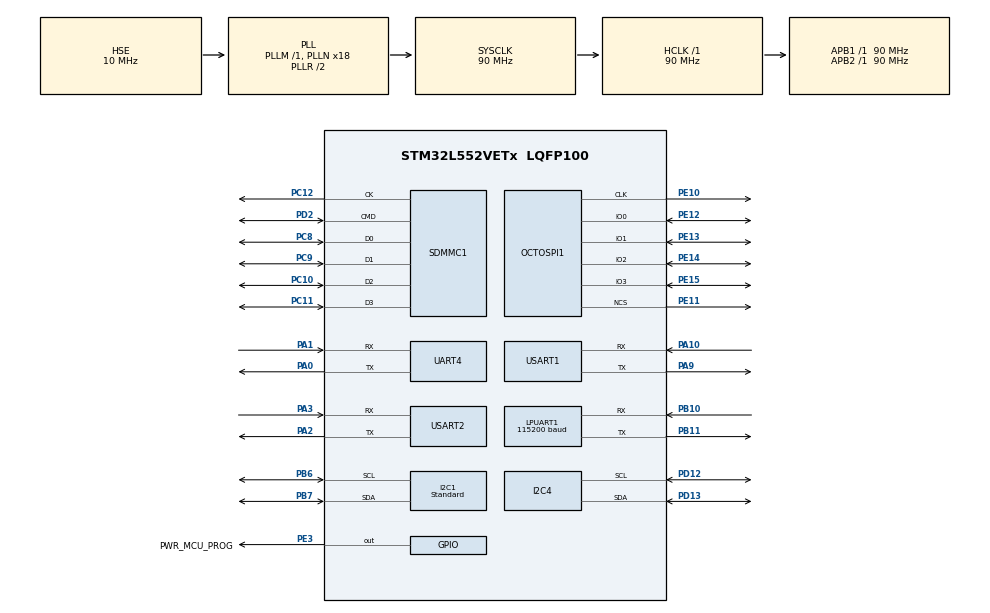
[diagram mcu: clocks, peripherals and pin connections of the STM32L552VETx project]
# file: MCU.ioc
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Dma.Request0=USART1_TX
Dma.USART1_TX.0.Channel_PRIV_NPRIV=DMA_CHANNEL_NPRIV_DISABLE
Dma.USART1_TX.0.Direction=DMA_MEMORY_TO_PERIPH
Dma.USART1_TX.0.EventEnable=DISABLE
Dma.USART1_TX.0.Instance=DMA1_Channel1
Dma.USART1_TX.0.MemDataAlignment=DMA_MDATAALIGN_BYTE
Dma.USART1_TX.0.MemInc=DMA_MINC_ENABLE
Dma.USART1_TX.0.Mode=DMA_NORMAL
Dma.USART1_TX.0.PeriphDataAlignment=DMA_PDATAALIGN_BYTE
Dma.USART1_TX.0.PeriphInc=DMA_PINC_DISABLE
Dma.USART1_TX.0.Polarity=HAL_DMAMUX_REQ_GEN_RISING
Dma.USART1_TX.0.Priority=DMA_PRIORITY_LOW
Dma.USART1_TX.0.RequestNumber=1
Dma.USART1_TX.0.SignalID=NONE
Dma.USART1_TX.0.SyncEnable=DISABLE
Dma.USART1_TX.0.SyncPolarity=HAL_DMAMUX_SYNC_NO_EVENT
Dma.USART1_TX.0.SyncRequestNumber=1
Dma.USART1_TX.0.SyncSignalID=NONE
FATFS._FS_EXFAT=1
FATFS._USE_LFN=3
I2C1.CustomTiming=Disabled
I2C1.I2C_Coeff_DF=0
I2C1.I2C_Fall_Time=0
I2C1.I2C_Rise_Time=500
I2C1.I2C_Speed_Mode=I2C_Standard
I2C1.Speed=100
I2C1.Timing=0x40D04660
I2C4.I2C_Rise_Time=100
I2C4.Timing=0x10F0B6FF
LPUART1.BaudRate=115200
Mcu.Family=STM32L5
Mcu.Name=STM32L552VETx
Mcu.Package=LQFP100
NVIC.DMA1_Channel1_IRQn=true\:0\:0\:false\:false\:true\:false\:true\:true
NVIC.I2C1_ER_IRQn=true\:0\:0\:false\:false\:true\:true\:true\:true
NVIC.I2C1_EV_IRQn=true\:0\:0\:false\:false\:true\:true\:true\:true
NVIC.LPUART1_IRQn=true\:0\:0\:false\:false\:true\:true\:true\:true
NVIC.OCTOSPI1_IRQn=true\:0\:0\:false\:false\:true\:true\:true\:true
NVIC.PriorityGroup=NVIC_PRIORITYGROUP_3
NVIC.SDMMC1_IRQn=true\:0\:0\:false\:false\:true\:true\:true\:true
NVIC.UART4_IRQn=true\:0\:0\:false\:false\:true\:true\:true\:true
NVIC.USART1_IRQn=true\:0\:0\:false\:false\:true\:true\:true\:true
NVIC.USART2_IRQn=true\:0\:0\:false\:false\:true\:true\:true\:true
OCTOSPI1.ClockMode=HAL_OSPI_CLOCK_MODE_3
OCTOSPI1.MemoryType=HAL_OSPI_MEMTYPE_APMEMORY
PA0.Mode=Asynchronous
PA0.Signal=UART4_TX
PA1.Mode=Asynchronous
PA1.Signal=UART4_RX
PA10.Mode=Asynchronous
PA10.Signal=USART1_RX
PA2.Mode=Asynchronous
PA2.Signal=USART2_TX
PA3.Mode=Asynchronous
PA3.Signal=USART2_RX
PA9.Mode=Asynchronous
PA9.Signal=USART1_TX
PB10.Mode=Asynchronous
PB10.Signal=LPUART1_RX
PB11.Mode=Asynchronous
PB11.Signal=LPUART1_TX
PB6.Mode=I2C
PB6.Signal=I2C1_SCL
PB7.Mode=I2C
PB7.Signal=I2C1_SDA
PC10.Mode=SD_4_bits_Wide_bus
PC10.Signal=SDMMC1_D2
PC11.Mode=SD_4_bits_Wide_bus
PC11.Signal=SDMMC1_D3
PC12.Mode=SD_4_bits_Wide_bus
PC12.Signal=SDMMC1_CK
PC14-OSC32_IN\ (PC14).Mode=LSE-External-Oscillator
PC14-OSC32_IN\ (PC14).Signal=RCC_OSC32_IN
PC15-OSC32_OUT\ (PC15).Mode=LSE-External-Oscillator
PC15-OSC32_OUT\ (PC15).Signal=RCC_OSC32_OUT
PC8.Mode=SD_4_bits_Wide_bus
PC8.Signal=SDMMC1_D0
PC9.Mode=SD_4_bits_Wide_bus
PC9.Signal=SDMMC1_D1
PD12.Mode=I2C
PD12.Signal=I2C4_SCL
PD13.Mode=I2C
PD13.Signal=I2C4_SDA
PD2.Mode=SD_4_bits_Wide_bus
PD2.Signal=SDMMC1_CMD
PE10.Mode=quad_mode
PE10.Signal=OCTOSPI1_CLK
PE11.Mode=quad_mode
PE11.Signal=OCTOSPI1_NCS
PE12.Mode=quad_mode
PE12.Signal=OCTOSPI1_IO0
PE13.Mode=quad_mode
PE13.Signal=OCTOSPI1_IO1
PE14.Mode=quad_mode
PE14.Signal=OCTOSPI1_IO2
PE15.Mode=quad_mode
PE15.Signal=OCTOSPI1_IO3
PE3.GPIO_Label=PWR_MCU_PROG
PE3.Signal=GPIO_Output
PH0-OSC_IN\ (PH0).Mode=HSE-External-Oscillator
PH0-OSC_IN\ (PH0).Signal=RCC_OSC_IN
PH1-OSC_OUT\ (PH1).Mode=HSE-External-Oscillator
PH1-OSC_OUT\ (PH1).Signal=RCC_OSC_OUT
ProjectManager.HeapSize=0x200
ProjectManager.StackSize=0x800
ProjectManager.TargetToolchain=STM32CubeIDE
RCC.ADCFreq_Value=50000000
RCC.AHBFreq_Value=90000000
RCC.APB1Freq_Value=90000000
RCC.APB1TimFreq_Value=90000000
RCC.APB2Freq_Value=90000000
RCC.APB2TimFreq_Value=90000000
RCC.CortexFreq_Value=90000000
RCC.HCLKFreq_Value=90000000
RCC.HSE_VALUE=10000000
RCC.HSI48_VALUE=48000000
RCC.HSI_VALUE=16000000
RCC.MSI_VALUE=4000000
RCC.PLLN=18
RCC.PLLSAI1M=2
RCC.PLLSAI1N=20
RCC.PLLSAI1Q=RCC_PLLQ_DIV4
RCC.PLLSAI1Source=RCC_PLLSAI1SOURCE_HSE
RCC.PLLSourceVirtual=RCC_PLLSOURCE_HSE
RCC.RTCClockSelection=RCC_RTCCLKSOURCE_LSE
RCC.SDMMCClockSelection=RCC_SDIOCLKSOURCE_CLK48
RCC.SYSCLKFreq_VALUE=90000000
RCC.SYSCLKSource=RCC_SYSCLKSOURCE_PLLCLK
RCC.USBFreq_Value=25000000
RCC.VCOOutputFreq_Value=180000000
SDMMC1.ClockDiv=0
SDMMC1.ClockEdge=SDMMC_CLOCK_EDGE_RISING
SDMMC1.ClockPowerSave=SDMMC_CLOCK_POWER_SAVE_DISABLE
SDMMC1.HardwareFlowControl=SDMMC_HARDWARE_FLOW_CONTROL_DISABLE
USART1.VirtualMode-Asynchronous=VM_ASYNC
USART2.VirtualMode-Asynchronous=VM_ASYNC
VP_FATFS_VS_SDIO.Mode=SDIO
VP_ICACHE_VS_ICACHE.Mode=DefaultMode
VP_PWR_VS_DBSignals.Mode=DisableDeadBatterySignals
VP_PWR_VS_SECSignals.Mode=Security/Privilege
VP_RTC_VS_RTC_Activate.Mode=RTC_Enabled
board=custom

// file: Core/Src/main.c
/* USER CODE BEGIN Header */
/**
  ******************************************************************************
  * @file           : main.c
  * @brief          : Main program body
  ******************************************************************************
  * @attention
  *
  * Copyright (c) 2023 STMicroelectronics.
  * All rights reserved.
  *
  * This software is licensed under terms that can be found in the LICENSE file
  * in the root directory of this software component.
  * If no LICENSE file comes with this software, it is provided AS-IS.
  *
  ******************************************************************************
  */
/* USER CODE END Header */
#include "main.h"
#include "app_fatfs.h"

/* USER CODE BEGIN Includes */
#include "stdio.h"
#include "string.h"
#include "dbg.h"

/* USER CODE END Includes */

I2C_HandleTypeDef hi2c1;
I2C_HandleTypeDef hi2c4;

UART_HandleTypeDef hlpuart1;
UART_HandleTypeDef huart4;
UART_HandleTypeDef huart1;
UART_HandleTypeDef huart2;
DMA_HandleTypeDef hdma_usart1_tx;

OSPI_HandleTypeDef hospi1;

RTC_HandleTypeDef hrtc;

SD_HandleTypeDef hsd1;

void SystemClock_Config(void);
static void MX_GPIO_Init(void);
static void MX_DMA_Init(void);
static void MX_ICACHE_Init(void);
static void MX_OCTOSPI1_Init(void);
static void MX_USART1_UART_Init(void);
static void MX_RTC_Init(void);
static void MX_SDMMC1_SD_Init(void);
static void MX_I2C1_Init(void);
static void MX_LPUART1_UART_Init(void);
static void MX_UART4_Init(void);
static void MX_USART2_UART_Init(void);
static void MX_I2C4_Init(void);

int main(void)
{

  /* MCU Configuration--------------------------------------------------------*/

  /* Reset of all peripherals, Initializes the Flash interface and the Systick. */
  HAL_Init();

  /* Configure the system clock */
  SystemClock_Config();

  /* Initialize all configured peripherals */
  MX_GPIO_Init();
  MX_DMA_Init();
  MX_ICACHE_Init();
  MX_OCTOSPI1_Init();
  MX_USART1_UART_Init();
  MX_RTC_Init();
  MX_SDMMC1_SD_Init();
  if (MX_FATFS_Init() != APP_OK) {
    Error_Handler();
  }
  MX_I2C1_Init();
  MX_LPUART1_UART_Init();
  MX_UART4_Init();
  MX_USART2_UART_Init();
  MX_I2C4_Init();
  /* USER CODE BEGIN 2 */
  HAL_Delay(200);
  HAL_UART_Transmit(&huart1, "Start\n", 6, 100);
  char tt[100];
  RTC_TimeTypeDef sTimeStamp;
  RTC_DateTypeDef sTimeStampDate;
  uint8_t depth_cmd=0xac;
  uint8_t OUTX_L_XL=0x28;
  uint8_t OUTX_H_XL=0x29;
  uint8_t CTRL1_XL[]={0x10,0x10};
  uint8_t who_am_i=0x0f;
  uint8_t id;
  uint8_t data[6];
  uint8_t rx_byte;
  uint8_t rx_byte2;
  //HAL_GPIO_WritePin(PWR_MCU_PROG_GPIO_Port, PWR_MCU_PROG_Pin, GPIO_PIN_SET);
  //HAL_Delay(1000);
  //HAL_GPIO_WritePin(PWR_MCU_PROG_GPIO_Port, PWR_MCU_PROG_Pin, GPIO_PIN_RESET);

  //IMU SENSOR WORKS!!
  //while(1){
  //HAL_I2C_Master_Transmit(&hi2c1, 0xd4, &who_am_i, 1, 100);
  //HAL_I2C_Master_Receive(&hi2c1, 0xd4, &id, 1, 100);

  //sprintf(tt,"who_am_i:%u \n",id);
  //HAL_UART_Transmit(&huart1, tt, strlen(tt),100);

  //HAL_I2C_Master_Transmit(&hi2c1, 0xd4, CTRL1_XL, 2, 100);

  //HAL_I2C_Master_Transmit(&hi2c1, 0xd4, &OUTX_L_XL, 1, 100);
  //HAL_I2C_Master_Receive(&hi2c1, 0xd4, data, 1, 100);

  //HAL_I2C_Master_Transmit(&hi2c1, 0xd4, &OUTX_H_XL, 1, 100);
  //HAL_I2C_Master_Receive(&hi2c1, 0xd4, data+1, 1, 100);

  //int16_t OUTX_XL=(data[1]<<8)|data[0];
  //sprintf(tt,"OUTX_XL:%d \n",OUTX_XL);
  //HAL_UART_Transmit(&huart1, tt, strlen(tt),100);
  //HAL_Delay(1000);
  //}

  //DEPTH SENSOR WORKS!!
  //uint16_t P;
  //uint16_t T;
  //while(1){
//	  HAL_StatusTypeDef f_res=HAL_I2C_Master_Transmit(&hi2c4, 0x80, &depth_cmd, 1, 100);
//	  sprintf(tt,"fres:%u\n",f_res);
//	  HAL_UART_Transmit(&huart1, tt, strlen(tt),100);
//	  HAL_Delay(20);
//	  f_res=HAL_I2C_Master_Receive(&hi2c4, 0x80, data, 5, 100);
//	  P=(data[1]<<8)|data[2];
//	  T=(data[3]<<8)|data[4];
//	  sprintf(tt,"P:%u T:%u\n",P,T);
//	  HAL_UART_Transmit(&huart1, tt, strlen(tt),100);
//	  HAL_Delay(1000);
//  }

 // while(1){
//	  HAL_UART_Transmit(&huart1, "UART1\n", 6,100);
//	  if(HAL_UART_Receive(&huart1,&rx_byte,1,1000)==HAL_OK){
//		  HAL_UART_Transmit(&huart1,&rx_byte,1,100);
//	  }

//	  HAL_UART_Transmit(&huart2, "UART2\n", 6,100);
//	  if(HAL_UART_Receive(&huart2,&rx_byte,1,1000)==HAL_OK){
//		  HAL_UART_Transmit(&huart2,&rx_byte,1,100);
//	  }
	  //HAL_UART_Transmit(&huart3, "UART3\n", 6,100);
	  //if(HAL_UART_Receive(&huart3,&rx_byte,1,1000)==HAL_OK){
	  //  HAL_UART_Transmit(&huart3,&rx_byte,1,100);
	  //}

//	  HAL_UART_Transmit(&huart4, "UART4\n", 6,100);
//	  if(HAL_UART_Receive(&huart4,&rx_byte,1,1000)==HAL_OK){
//		  HAL_UART_Transmit(&huart4,&rx_byte,1,100);
//	  }

//	  HAL_UART_Transmit(&hlpuart1,"LUART1\n", 7,100);
//	  if(HAL_UART_Receive(&hlpuart1,&rx_byte,1,1000)==HAL_OK){
//		  HAL_UART_Transmit(&hlpuart1,&rx_byte,1,100);
//	  }
//	  HAL_Delay(1000);

//  }

  /*
  sTimeStamp.Hours=14;
  sTimeStamp.Minutes=00;
  sTimeStamp.Seconds=00;
  HAL_RTC_SetTime(&hrtc, &sTimeStamp, RTC_FORMAT_BIN);

  sTimeStampDate.WeekDay = RTC_WEEKDAY_MONDAY;
  sTimeStampDate.Month = RTC_MONTH_JUNE;
  sTimeStampDate.Date = 14;
  sTimeStampDate.Year = 23;
  HAL_RTC_SetDate(&hrtc, &sTimeStampDate, RTC_FORMAT_BIN);
  */

  HAL_RTC_GetTime(&hrtc, &sTimeStamp, RTC_FORMAT_BIN);
  HAL_RTC_GetDate(&hrtc, &sTimeStampDate, RTC_FORMAT_BIN);
  sprintf(tt,"RTC %02u:%02u:%02u %02u:%02u:%02u\n",sTimeStampDate.Date,sTimeStampDate.Month,sTimeStampDate.Year,sTimeStamp.Hours,sTimeStamp.Minutes,sTimeStamp.Seconds);
  HAL_UART_Transmit(&huart1, tt, strlen(tt),100);

  extern uint8_t test_msg[10200];

  FATFS fs;
  FIL fl;
  FRESULT res;
  res=f_mount(&fs,"",1);
  print_param("mount", res);
  uint32_t btwritten;
  uint32_t tmstmp;

  if(res==FR_OK){
	  HAL_UART_Transmit(&huart1, "SM\n", 3,100);
   if(f_open(&fl,"testfile",FA_CREATE_ALWAYS|FA_WRITE)==FR_OK){
	   tmstmp=HAL_GetTick();

	   for(int i=0;i<1;i++){
		   res=f_write(&fl,test_msg,10000,&btwritten);
		   if(res!=FR_OK){
			 print_param("c",i);
			 print_param("r",res);
		   }
	   }

	   tmstmp=HAL_GetTick()-tmstmp;

	   print_param("Dlt",tmstmp);

	  f_close(&fl);
	  HAL_UART_Transmit(&huart1, "FC\n", 3,100);
   }
  }

  /* USER CODE END 2 */

  /* Infinite loop */
  /* USER CODE BEGIN WHILE */
  while (1)
  {
	/*
	HAL_UART_Transmit_DMA(&huart1, "Hello\n", 6);

	HAL_Delay(1000);
	//HAL_RTCEx_GetTimeStamp(&hrtc, &sTimeStamp, &sTimeStampDate, RTC_FORMAT_BIN);
	HAL_RTC_GetTime(&hrtc, &sTimeStamp, RTC_FORMAT_BIN);
	HAL_RTC_GetDate(&hrtc, &sTimeStampDate, RTC_FORMAT_BIN);
	sprintf(tt,"%u:%u:%u\n",sTimeStamp.Hours,sTimeStamp.Minutes,sTimeStamp.Seconds);
	HAL_UART_Transmit_DMA(&huart1, tt, strlen(tt));
	HAL_Delay(1000);
	*/

    /* USER CODE END WHILE */

  }
}

void SystemClock_Config(void)
{
  RCC_OscInitTypeDef RCC_OscInitStruct = {0};
  RCC_ClkInitTypeDef RCC_ClkInitStruct = {0};

  /** Configure the main internal regulator output voltage
  */
  if (HAL_PWREx_ControlVoltageScaling(PWR_REGULATOR_VOLTAGE_SCALE0) != HAL_OK)
  {
    Error_Handler();
  }

  /** Configure LSE Drive Capability
  */
  HAL_PWR_EnableBkUpAccess();
  __HAL_RCC_LSEDRIVE_CONFIG(RCC_LSEDRIVE_LOW);

  /** Initializes the RCC Oscillators according to the specified parameters
  * in the RCC_OscInitTypeDef structure.
  */
  RCC_OscInitStruct.OscillatorType = RCC_OSCILLATORTYPE_HSE|RCC_OSCILLATORTYPE_LSE;
  RCC_OscInitStruct.HSEState = RCC_HSE_ON;
  RCC_OscInitStruct.LSEState = RCC_LSE_ON;
  RCC_OscInitStruct.PLL.PLLState = RCC_PLL_ON;
  RCC_OscInitStruct.PLL.PLLSource = RCC_PLLSOURCE_HSE;
  RCC_OscInitStruct.PLL.PLLM = 1;
  RCC_OscInitStruct.PLL.PLLN = 18;
  RCC_OscInitStruct.PLL.PLLP = RCC_PLLP_DIV7;
  RCC_OscInitStruct.PLL.PLLQ = RCC_PLLQ_DIV2;
  RCC_OscInitStruct.PLL.PLLR = RCC_PLLR_DIV2;
  if (HAL_RCC_OscConfig(&RCC_OscInitStruct) != HAL_OK)
  {
    Error_Handler();
  }

  /** Initializes the CPU, AHB and APB buses clocks
  */
  RCC_ClkInitStruct.ClockType = RCC_CLOCKTYPE_HCLK|RCC_CLOCKTYPE_SYSCLK
                              |RCC_CLOCKTYPE_PCLK1|RCC_CLOCKTYPE_PCLK2;
  RCC_ClkInitStruct.SYSCLKSource = RCC_SYSCLKSOURCE_PLLCLK;
  RCC_ClkInitStruct.AHBCLKDivider = RCC_SYSCLK_DIV1;
  RCC_ClkInitStruct.APB1CLKDivider = RCC_HCLK_DIV1;
  RCC_ClkInitStruct.APB2CLKDivider = RCC_HCLK_DIV1;

  if (HAL_RCC_ClockConfig(&RCC_ClkInitStruct, FLASH_LATENCY_4) != HAL_OK)
  {
    Error_Handler();
  }
}

static void MX_I2C1_Init(void)
{

  hi2c1.Instance = I2C1;
  hi2c1.Init.Timing = 0x40D04660;
  hi2c1.Init.OwnAddress1 = 0;
  hi2c1.Init.AddressingMode = I2C_ADDRESSINGMODE_7BIT;
  hi2c1.Init.DualAddressMode = I2C_DUALADDRESS_DISABLE;
  hi2c1.Init.OwnAddress2 = 0;
  hi2c1.Init.OwnAddress2Masks = I2C_OA2_NOMASK;
  hi2c1.Init.GeneralCallMode = I2C_GENERALCALL_DISABLE;
  hi2c1.Init.NoStretchMode = I2C_NOSTRETCH_DISABLE;
  if (HAL_I2C_Init(&hi2c1) != HAL_OK)
  {
    Error_Handler();
  }

  /** Configure Analogue filter
  */
  if (HAL_I2CEx_ConfigAnalogFilter(&hi2c1, I2C_ANALOGFILTER_ENABLE) != HAL_OK)
  {
    Error_Handler();
  }

  /** Configure Digital filter
  */
  if (HAL_I2CEx_ConfigDigitalFilter(&hi2c1, 0) != HAL_OK)
  {
    Error_Handler();
  }

}

static void MX_I2C4_Init(void)
{

  hi2c4.Instance = I2C4;
  hi2c4.Init.Timing = 0x10F0B6FF;
  hi2c4.Init.OwnAddress1 = 0;
  hi2c4.Init.AddressingMode = I2C_ADDRESSINGMODE_7BIT;
  hi2c4.Init.DualAddressMode = I2C_DUALADDRESS_DISABLE;
  hi2c4.Init.OwnAddress2 = 0;
  hi2c4.Init.OwnAddress2Masks = I2C_OA2_NOMASK;
  hi2c4.Init.GeneralCallMode = I2C_GENERALCALL_DISABLE;
  hi2c4.Init.NoStretchMode = I2C_NOSTRETCH_DISABLE;
  if (HAL_I2C_Init(&hi2c4) != HAL_OK)
  {
    Error_Handler();
  }

  /** Configure Analogue filter
  */
  if (HAL_I2CEx_ConfigAnalogFilter(&hi2c4, I2C_ANALOGFILTER_ENABLE) != HAL_OK)
  {
    Error_Handler();
  }

  /** Configure Digital filter
  */
  if (HAL_I2CEx_ConfigDigitalFilter(&hi2c4, 0) != HAL_OK)
  {
    Error_Handler();
  }

}

static void MX_ICACHE_Init(void)
{

  /** Enable instruction cache (default 2-ways set associative cache)
  */
  if (HAL_ICACHE_Enable() != HAL_OK)
  {
    Error_Handler();
  }

}

static void MX_LPUART1_UART_Init(void)
{

  hlpuart1.Instance = LPUART1;
  hlpuart1.Init.BaudRate = 115200;
  hlpuart1.Init.WordLength = UART_WORDLENGTH_8B;
  hlpuart1.Init.StopBits = UART_STOPBITS_1;
  hlpuart1.Init.Parity = UART_PARITY_NONE;
  hlpuart1.Init.Mode = UART_MODE_TX_RX;
  hlpuart1.Init.HwFlowCtl = UART_HWCONTROL_NONE;
  hlpuart1.Init.OneBitSampling = UART_ONE_BIT_SAMPLE_DISABLE;
  hlpuart1.Init.ClockPrescaler = UART_PRESCALER_DIV1;
  hlpuart1.AdvancedInit.AdvFeatureInit = UART_ADVFEATURE_NO_INIT;
  hlpuart1.FifoMode = UART_FIFOMODE_DISABLE;
  if (HAL_UART_Init(&hlpuart1) != HAL_OK)
  {
    Error_Handler();
  }
  if (HAL_UARTEx_SetTxFifoThreshold(&hlpuart1, UART_TXFIFO_THRESHOLD_1_8) != HAL_OK)
  {
    Error_Handler();
  }
  if (HAL_UARTEx_SetRxFifoThreshold(&hlpuart1, UART_RXFIFO_THRESHOLD_1_8) != HAL_OK)
  {
    Error_Handler();
  }
  if (HAL_UARTEx_DisableFifoMode(&hlpuart1) != HAL_OK)
  {
    Error_Handler();
  }

}

static void MX_UART4_Init(void)
{

  huart4.Instance = UART4;
  huart4.Init.BaudRate = 115200;
  huart4.Init.WordLength = UART_WORDLENGTH_8B;
  huart4.Init.StopBits = UART_STOPBITS_1;
  huart4.Init.Parity = UART_PARITY_NONE;
  huart4.Init.Mode = UART_MODE_TX_RX;
  huart4.Init.HwFlowCtl = UART_HWCONTROL_NONE;
  huart4.Init.OverSampling = UART_OVERSAMPLING_16;
  huart4.Init.OneBitSampling = UART_ONE_BIT_SAMPLE_DISABLE;
  huart4.Init.ClockPrescaler = UART_PRESCALER_DIV1;
  huart4.AdvancedInit.AdvFeatureInit = UART_ADVFEATURE_NO_INIT;
  if (HAL_UART_Init(&huart4) != HAL_OK)
  {
    Error_Handler();
  }
  if (HAL_UARTEx_SetTxFifoThreshold(&huart4, UART_TXFIFO_THRESHOLD_1_8) != HAL_OK)
  {
    Error_Handler();
  }
  if (HAL_UARTEx_SetRxFifoThreshold(&huart4, UART_RXFIFO_THRESHOLD_1_8) != HAL_OK)
  {
    Error_Handler();
  }
  if (HAL_UARTEx_DisableFifoMode(&huart4) != HAL_OK)
  {
    Error_Handler();
  }

}

static void MX_USART1_UART_Init(void)
{

  huart1.Instance = USART1;
  huart1.Init.BaudRate = 115200;
  huart1.Init.WordLength = UART_WORDLENGTH_8B;
  huart1.Init.StopBits = UART_STOPBITS_1;
  huart1.Init.Parity = UART_PARITY_NONE;
  huart1.Init.Mode = UART_MODE_TX_RX;
  huart1.Init.HwFlowCtl = UART_HWCONTROL_NONE;
  huart1.Init.OverSampling = UART_OVERSAMPLING_16;
  huart1.Init.OneBitSampling = UART_ONE_BIT_SAMPLE_DISABLE;
  huart1.Init.ClockPrescaler = UART_PRESCALER_DIV1;
  huart1.AdvancedInit.AdvFeatureInit = UART_ADVFEATURE_NO_INIT;
  if (HAL_UART_Init(&huart1) != HAL_OK)
  {
    Error_Handler();
  }
  if (HAL_UARTEx_SetTxFifoThreshold(&huart1, UART_TXFIFO_THRESHOLD_1_8) != HAL_OK)
  {
    Error_Handler();
  }
  if (HAL_UARTEx_SetRxFifoThreshold(&huart1, UART_RXFIFO_THRESHOLD_1_8) != HAL_OK)
  {
    Error_Handler();
  }
  if (HAL_UARTEx_DisableFifoMode(&huart1) != HAL_OK)
  {
    Error_Handler();
  }

}

static void MX_USART2_UART_Init(void)
{

  huart2.Instance = USART2;
  huart2.Init.BaudRate = 115200;
  huart2.Init.WordLength = UART_WORDLENGTH_8B;
  huart2.Init.StopBits = UART_STOPBITS_1;
  huart2.Init.Parity = UART_PARITY_NONE;
  huart2.Init.Mode = UART_MODE_TX_RX;
  huart2.Init.HwFlowCtl = UART_HWCONTROL_NONE;
  huart2.Init.OverSampling = UART_OVERSAMPLING_16;
  huart2.Init.OneBitSampling = UART_ONE_BIT_SAMPLE_DISABLE;
  huart2.Init.ClockPrescaler = UART_PRESCALER_DIV1;
  huart2.AdvancedInit.AdvFeatureInit = UART_ADVFEATURE_NO_INIT;
  if (HAL_UART_Init(&huart2) != HAL_OK)
  {
    Error_Handler();
  }
  if (HAL_UARTEx_SetTxFifoThreshold(&huart2, UART_TXFIFO_THRESHOLD_1_8) != HAL_OK)
  {
    Error_Handler();
  }
  if (HAL_UARTEx_SetRxFifoThreshold(&huart2, UART_RXFIFO_THRESHOLD_1_8) != HAL_OK)
  {
    Error_Handler();
  }
  if (HAL_UARTEx_DisableFifoMode(&huart2) != HAL_OK)
  {
    Error_Handler();
  }

}

static void MX_OCTOSPI1_Init(void)
{

  /* OCTOSPI1 parameter configuration*/
  hospi1.Instance = OCTOSPI1;
  hospi1.Init.FifoThreshold = 1;
  hospi1.Init.DualQuad = HAL_OSPI_DUALQUAD_DISABLE;
  hospi1.Init.MemoryType = HAL_OSPI_MEMTYPE_APMEMORY;
  hospi1.Init.DeviceSize = 32;
  hospi1.Init.ChipSelectHighTime = 1;
  hospi1.Init.FreeRunningClock = HAL_OSPI_FREERUNCLK_DISABLE;
  hospi1.Init.ClockMode = HAL_OSPI_CLOCK_MODE_3;
  hospi1.Init.WrapSize = HAL_OSPI_WRAP_NOT_SUPPORTED;
  hospi1.Init.ClockPrescaler = 1;
  hospi1.Init.SampleShifting = HAL_OSPI_SAMPLE_SHIFTING_NONE;
  hospi1.Init.DelayHoldQuarterCycle = HAL_OSPI_DHQC_DISABLE;
  hospi1.Init.ChipSelectBoundary = 0;
  hospi1.Init.DelayBlockBypass = HAL_OSPI_DELAY_BLOCK_BYPASSED;
  hospi1.Init.Refresh = 0;
  if (HAL_OSPI_Init(&hospi1) != HAL_OK)
  {
    Error_Handler();
  }

}

static void MX_RTC_Init(void)
{

  RTC_PrivilegeStateTypeDef privilegeState = {0};

  /** Initialize RTC Only
  */
  hrtc.Instance = RTC;
  hrtc.Init.HourFormat = RTC_HOURFORMAT_24;
  hrtc.Init.AsynchPrediv = 127;
  hrtc.Init.SynchPrediv = 255;
  hrtc.Init.OutPut = RTC_OUTPUT_DISABLE;
  hrtc.Init.OutPutRemap = RTC_OUTPUT_REMAP_NONE;
  hrtc.Init.OutPutPolarity = RTC_OUTPUT_POLARITY_HIGH;
  hrtc.Init.OutPutType = RTC_OUTPUT_TYPE_OPENDRAIN;
  hrtc.Init.OutPutPullUp = RTC_OUTPUT_PULLUP_NONE;
  if (HAL_RTC_Init(&hrtc) != HAL_OK)
  {
    Error_Handler();
  }
  privilegeState.rtcPrivilegeFull = RTC_PRIVILEGE_FULL_NO;
  privilegeState.backupRegisterPrivZone = RTC_PRIVILEGE_BKUP_ZONE_NONE;
  privilegeState.backupRegisterStartZone2 = RTC_BKP_DR0;
  privilegeState.backupRegisterStartZone3 = RTC_BKP_DR0;
  if (HAL_RTCEx_PrivilegeModeSet(&hrtc, &privilegeState) != HAL_OK)
  {
    Error_Handler();
  }

}

static void MX_SDMMC1_SD_Init(void)
{

  hsd1.Instance = SDMMC1;
  hsd1.Init.ClockEdge = SDMMC_CLOCK_EDGE_RISING;
  hsd1.Init.ClockPowerSave = SDMMC_CLOCK_POWER_SAVE_DISABLE;
  hsd1.Init.BusWide = SDMMC_BUS_WIDE_4B;
  hsd1.Init.HardwareFlowControl = SDMMC_HARDWARE_FLOW_CONTROL_DISABLE;
  hsd1.Init.ClockDiv = 0;

}

static void MX_DMA_Init(void)
{

  /* DMA controller clock enable */
  __HAL_RCC_DMAMUX1_CLK_ENABLE();
  __HAL_RCC_DMA1_CLK_ENABLE();

  /* DMA interrupt init */
  /* DMA1_Channel1_IRQn interrupt configuration */
  HAL_NVIC_SetPriority(DMA1_Channel1_IRQn, 0, 0);
  HAL_NVIC_EnableIRQ(DMA1_Channel1_IRQn);

}

static void MX_GPIO_Init(void)
{
  GPIO_InitTypeDef GPIO_InitStruct = {0};

  /* GPIO Ports Clock Enable */
  __HAL_RCC_GPIOE_CLK_ENABLE();
  __HAL_RCC_GPIOC_CLK_ENABLE();
  __HAL_RCC_GPIOH_CLK_ENABLE();
  __HAL_RCC_GPIOA_CLK_ENABLE();
  __HAL_RCC_GPIOB_CLK_ENABLE();
  __HAL_RCC_GPIOD_CLK_ENABLE();

  /*Configure GPIO pin Output Level */
  HAL_GPIO_WritePin(PWR_MCU_PROG_GPIO_Port, PWR_MCU_PROG_Pin, GPIO_PIN_RESET);

  /*Configure GPIO pin : PWR_MCU_PROG_Pin */
  GPIO_InitStruct.Pin = PWR_MCU_PROG_Pin;
  GPIO_InitStruct.Mode = GPIO_MODE_OUTPUT_PP;
  GPIO_InitStruct.Pull = GPIO_NOPULL;
  GPIO_InitStruct.Speed = GPIO_SPEED_FREQ_LOW;
  HAL_GPIO_Init(PWR_MCU_PROG_GPIO_Port, &GPIO_InitStruct);

}

/* USER CODE BEGIN 4 */
uint32_t sd_dma_rx_semaphore;
uint32_t sd_dma_tx_semaphore;

void HAL_SD_TxCpltCallback(SD_HandleTypeDef *hsd)
{
	sd_dma_tx_semaphore=1;
	print_param("tcb",hsd->ErrorCode);
}

void HAL_SD_RxCpltCallback(SD_HandleTypeDef *hsd)
{
	sd_dma_rx_semaphore=1;
	print_param("rCb",hsd->ErrorCode);

}
void HAL_SD_ErrorCallback(SD_HandleTypeDef *hsd)
{
  print_param("ecb",hsd->ErrorCode);
  print_param("STAecb",hsd1.Instance->STA);
  print_param("CLKCR",hsd1.Instance->CLKCR);
}

/* USER CODE END 4 */

void Error_Handler(void)
{
  /* USER CODE BEGIN Error_Handler_Debug */
  /* User can add his own implementation to report the HAL error return state */
	HAL_UART_Transmit(&huart1, "err", 3,100);
  __disable_irq();
  while (1)
  {
  }
  /* USER CODE END Error_Handler_Debug */
}
